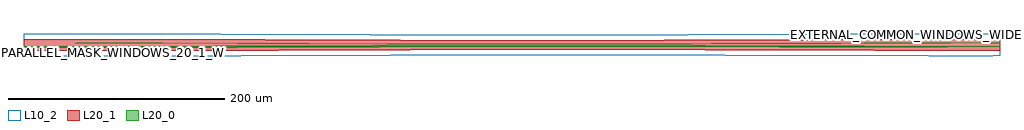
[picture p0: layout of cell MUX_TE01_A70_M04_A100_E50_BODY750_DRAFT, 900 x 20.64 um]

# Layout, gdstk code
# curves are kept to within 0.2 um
import gdstk
lib = gdstk.Library(unit=1e-6, precision=1e-09)
def P(c, l, *ps):  # polygons
    for p in ps: c.add(gdstk.Polygon(p, *l))
L10_2 = (10, 2)
L20_0 = (20, 0)
L20_1 = (20, 1)

mux_te01_a70_m04_a100_e5 = lib.new_cell('MUX_TE01_A70_M04_A100_E50_BODY750_DRAFT')
P(mux_te01_a70_m04_a100_e5, L10_2, [(3.126,-10.575),(-100,-10.55),(-100,6.65),(68.733,6.694),(378.123,7.526),(800,6.8),(800,-10.4),(378.127,-9.674)],
  [(371.875,-8.015),(59.361,-7.226),(-100,-7.2),(-100,10),(59.389,9.974),(371.875,9.185),(800,10.05),(800,-7.15)])
P(mux_te01_a70_m04_a100_e5, L20_0, [(-4.167,-2.7),(-100,-2.615),(-100,-1.285),(75,-1.169),(321.875,-0.441),(450,-0.481),(800,-1.45),(800,-2.15),(753.125,-2.368),(384.375,-1.745)],
  [(371.875,0.4),(281.25,0.524),(125,1.038),(56.25,1.204),(3.125,1.25),(-100,1.225),(-100,1.575),(9.375,1.599),(59.375,1.549),(275,0.899),(375,0.771),(471.875,0.921),(665.625,1.566),(757.292,1.677),(800,1.8),(800,1.1),(752.917,1.249),(693.75,1.204),(625,1.038),(468.75,0.524)])
P(mux_te01_a70_m04_a100_e5, L20_1, [(3.125,-5.575),(-100,-5.55),(-100,1.65),(68.743,1.694),(378.124,2.526),(800,1.8),(800,-5.4),(378.126,-4.674)],
  [(371.875,-3.015),(59.369,-2.226),(-100,-2.2),(-100,5),(59.381,4.974),(371.875,4.185),(800,5.05),(800,-2.15)])
mux_te01_a70_m04_a100_e5.add(gdstk.Label('EXTERNAL_COMMON_WINDOWS_WIDENED_X750_950', (752.5,9), layer=101, texttype=0))
mux_te01_a70_m04_a100_e5.add(gdstk.Label('PARALLEL_MASK_WINDOWS_20_1_W8P1_10_2_W17P2', (-95,-6.8), layer=101, texttype=0))
mux_te01_a70_m04_a100_e5.add(gdstk.Label('STRAIGHT_RIB_PORTS_MASK_ENVELOPE_PENDING', (-95,-6.8), layer=101, texttype=0))
mux_te01_a70_m04_a100_e5.add(gdstk.Label('AUX_TAIL_0P30_REFLECTION_UNVERIFIED', (-50,1.4), layer=101, texttype=0))
mux_te01_a70_m04_a100_e5.add(gdstk.Label('ACTIVE_MAIN_1P33', (-100,-1.95), layer=101, texttype=0))
mux_te01_a70_m04_a100_e5.add(gdstk.Label('EXT_MAIN_0P70', (800,-1.8), layer=101, texttype=0))
mux_te01_a70_m04_a100_e5.add(gdstk.Label('EXT_AUX_0P70', (800,1.45), layer=101, texttype=0))

lib.write_gds('MUX_TE01_A70_M04_A100_E50_BODY750_DRAFT.gds')
